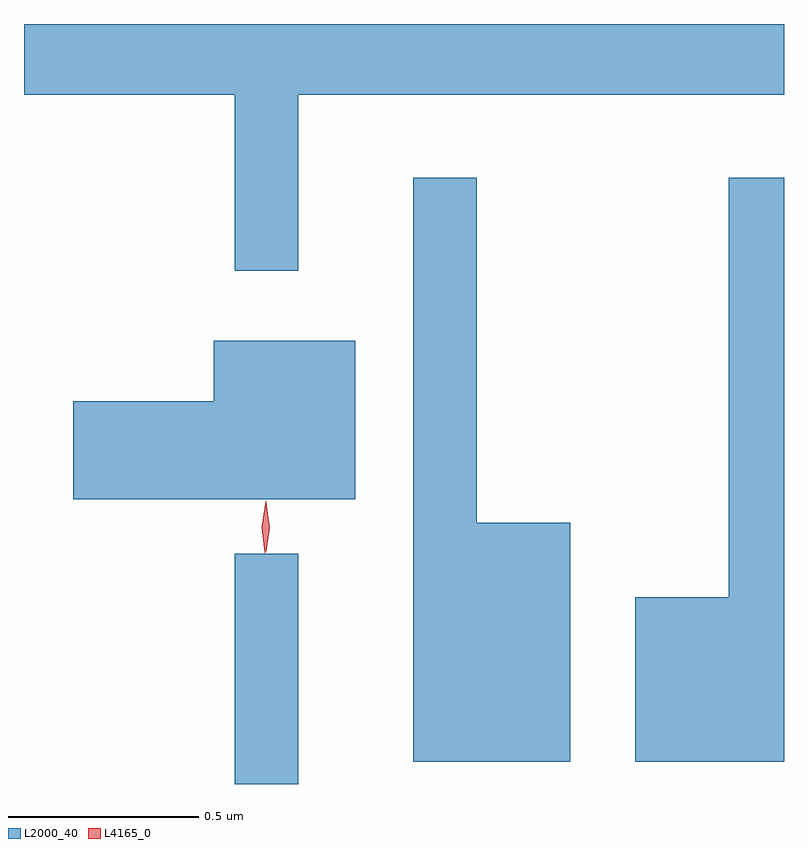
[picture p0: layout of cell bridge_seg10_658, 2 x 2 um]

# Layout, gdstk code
import gdstk
lib = gdstk.Library(unit=1e-6, precision=1e-09)
def R(c, l, rs):  # rectangles x0, y0, x1, y1
    for r in rs: c.add(gdstk.rectangle(r[:2], r[2:], *l))
def P(c, l, *ps):  # polygons
    for p in ps: c.add(gdstk.Polygon(p, *l))
L2000_40 = (2000, 40)
L4165_0 = (4165, 0)

bridge_seg10_658 = lib.new_cell('bridge_seg10_658')
R(bridge_seg10_658, L2000_40, [(773.681,2101.002,773.849,2101.608)])
P(bridge_seg10_658, L2000_40, [(773.849,2102.816),(775.127,2102.816),(775.127,2103.002),(773.127,2103.002),(773.127,2102.816),(773.681,2102.816),(773.681,2102.353),(773.849,2102.353)],
  [(775.127,2102.598),(774.981,2102.598),(774.981,2101.494),(774.736,2101.494),(774.736,2101.061),(775.127,2101.061)],
  [(774.564,2101.689),(774.319,2101.689),(774.319,2102.598),(774.151,2102.598),(774.151,2101.061),(774.564,2101.061)],
  [(773.999,2102.169),(773.626,2102.169),(773.626,2102.009),(773.256,2102.009),(773.256,2101.751),(773.999,2101.751)])
P(bridge_seg10_658, L4165_0, [(773.764,2101.613),(773.764,2101.614),(773.754,2101.677),(773.764,2101.74),(773.764,2101.74),(773.765,2101.74),(773.774,2101.677),(773.765,2101.614)],
  [(773.761,2101.61),(773.752,2101.678),(773.763,2101.746),(773.763,2101.746),(773.764,2101.746),(773.772,2101.678),(773.762,2101.61),(773.762,2101.61)])

lib.write_gds('bridge_seg10_658.gds')
